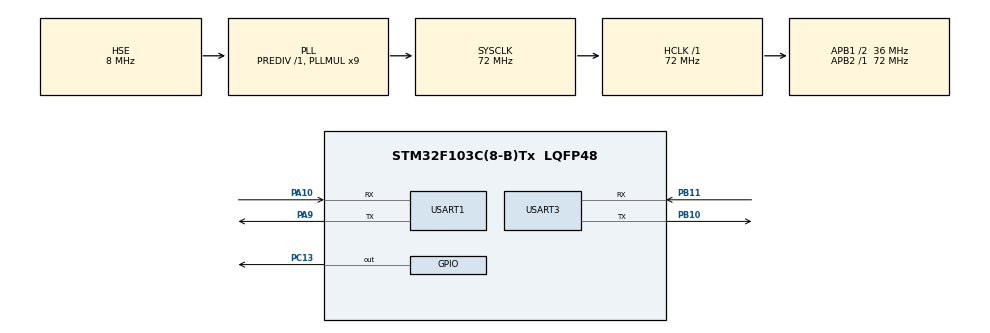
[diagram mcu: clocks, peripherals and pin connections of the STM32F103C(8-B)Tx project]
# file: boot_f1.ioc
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Dma.Request0=USART1_RX
Dma.USART1_RX.0.Direction=DMA_PERIPH_TO_MEMORY
Dma.USART1_RX.0.Instance=DMA1_Channel5
Dma.USART1_RX.0.MemDataAlignment=DMA_MDATAALIGN_BYTE
Dma.USART1_RX.0.MemInc=DMA_MINC_ENABLE
Dma.USART1_RX.0.Mode=DMA_NORMAL
Dma.USART1_RX.0.PeriphDataAlignment=DMA_PDATAALIGN_BYTE
Dma.USART1_RX.0.PeriphInc=DMA_PINC_DISABLE
Dma.USART1_RX.0.Priority=DMA_PRIORITY_MEDIUM
Mcu.Family=STM32F1
Mcu.Name=STM32F103C(8-B)Tx
Mcu.Package=LQFP48
NVIC.DMA1_Channel5_IRQn=true\:0\:0\:false\:false\:true\:false\:true\:true
NVIC.PriorityGroup=NVIC_PRIORITYGROUP_4
NVIC.USART1_IRQn=true\:0\:0\:false\:false\:true\:true\:true\:true
PA10.Mode=Asynchronous
PA10.Signal=USART1_RX
PA13.Mode=Serial_Wire
PA13.Signal=SYS_JTMS-SWDIO
PA14.Mode=Serial_Wire
PA14.Signal=SYS_JTCK-SWCLK
PA9.Mode=Asynchronous
PA9.Signal=USART1_TX
PB10.Mode=Asynchronous
PB10.Signal=USART3_TX
PB11.Mode=Asynchronous
PB11.Signal=USART3_RX
PC13-TAMPER-RTC.Signal=GPIO_Output
PD0-OSC_IN.Mode=HSE-External-Oscillator
PD0-OSC_IN.Signal=RCC_OSC_IN
PD1-OSC_OUT.Mode=HSE-External-Oscillator
PD1-OSC_OUT.Signal=RCC_OSC_OUT
ProjectManager.HeapSize=0x200
ProjectManager.StackSize=0x400
ProjectManager.TargetToolchain=STM32CubeIDE
RCC.AHBFreq_Value=72000000
RCC.APB1CLKDivider=RCC_HCLK_DIV2
RCC.APB1Freq_Value=36000000
RCC.APB1TimFreq_Value=72000000
RCC.APB2Freq_Value=72000000
RCC.APB2TimFreq_Value=72000000
RCC.HCLKFreq_Value=72000000
RCC.PLLMUL=RCC_PLL_MUL9
RCC.PLLSourceVirtual=RCC_PLLSOURCE_HSE
RCC.SYSCLKFreq_VALUE=72000000
RCC.SYSCLKSource=RCC_SYSCLKSOURCE_PLLCLK
RCC.USBFreq_Value=72000000
USART1.VirtualMode=VM_ASYNC
USART3.VirtualMode=VM_ASYNC
board=custom

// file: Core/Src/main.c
/* USER CODE BEGIN Header */
/**
 ******************************************************************************
 * @file           : main.c
 * @brief          : Main program body
 ******************************************************************************
 * @attention
 *
 * Copyright (c) 2024 STMicroelectronics.
 * All rights reserved.
 *
 * This software is licensed under terms that can be found in the LICENSE file
 * in the root directory of this software component.
 * If no LICENSE file comes with this software, it is provided AS-IS.
 *
 ******************************************************************************
 */
/* USER CODE END Header */
#include "main.h"

/* USER CODE BEGIN Includes */
#include "boot_f1.h"
/* USER CODE END Includes */

/* USER CODE BEGIN PD */
// #define BASE_ADDRESS_FLASH 		0x08010000
/* USER CODE END PD */

UART_HandleTypeDef huart1;
UART_HandleTypeDef huart3;
DMA_HandleTypeDef hdma_usart1_rx;

/* USER CODE BEGIN PV */
// char a[] = "hello";
/* USER CODE END PV */

void SystemClock_Config(void);
static void MX_GPIO_Init(void);
static void MX_DMA_Init(void);
static void MX_USART1_UART_Init(void);
static void MX_USART3_UART_Init(void);

/* USER CODE BEGIN 0 */
// uint8_t b[100];
uint8_t i;
uint8_t a[1025];
uint32_t address = BASE_ADDRESS_FLASH;
uint8_t count_to_stop = 0;
uint8_t count_to_start = 0;
volatile uint8_t temp = 0;
uint8_t khoa;
void HAL_UART_RxCpltCallback(UART_HandleTypeDef *huart)
{
  if (huart->Instance == huart1.Instance)
  {
    count_to_start++;
  }
  HAL_UART_Receive_DMA(&huart1, a, 1024);
}
// void HAL_GPIO_EXTI_Callback(uint16_t GPIO_Pin)
//{
//     if (GPIO_Pin == GPIO_PIN_7)
//     {
//         if (((GPIOC->IDR) & (0b10000000)) == 0)
//         {
//         	temp ++;
//         }
//     }
// }
/* USER CODE END 0 */

int main(void)
{

  /* MCU Configuration--------------------------------------------------------*/

  /* Reset of all peripherals, Initializes the Flash interface and the Systick. */
  HAL_Init();

  /* Configure the system clock */
  SystemClock_Config();

  /* Initialize all configured peripherals */
  MX_GPIO_Init();
  MX_DMA_Init();
  MX_USART1_UART_Init();
  MX_USART3_UART_Init();
  /* USER CODE BEGIN 2 */
  //  flash_erase((uint32_t)0x0800F000);
  //  flash_write((uint32_t)0x0800F000, a, 8);
  //  flash_read((uint32_t)0x0800F000, b, 10);
  HAL_UART_Receive_DMA(&huart1, a, 1024);
  khoa = 0;
  HAL_GPIO_WritePin(GPIOC, GPIO_PIN_13, 0);
  /* USER CODE END 2 */

  /* Infinite loop */
  /* USER CODE BEGIN WHILE */
  while (1)
  {
    if (count_to_start == 1)
    {
      HAL_UART_Transmit(&huart3, a, 1024, 150);
      flash_erase(BASE_ADDRESS_FLASH + 1024 * count_to_stop);
      flash_write(BASE_ADDRESS_FLASH + 1024 * count_to_stop, a, 1024);
      count_to_start = 0;
      count_to_stop++;
      temp = 0;
    }
    /* The code block you provided is checking if the variable `count_to_stop` is equal to 16. If it is,
    the following actions are taken:
    1. A delay of 3000 milliseconds (3 seconds) is introduced using `HAL_Delay(3000)`.
    2. Interrupts are disabled using `__disable_irq()`.
    3. The Vector Table Offset Register (VTOR) of the System Control Block (SCB) is set to 0x8010000.
    4. Data Synchronization Barrier (DSB) instruction is executed using `__DSB()`.
    5. Interrupts are enabled again using `__enable_irq()`.
    6. The function `boot2()` is called. */
    if (count_to_stop == 16)
    {
      HAL_Delay(3000);
      //		  boot_to_app();
      __disable_irq();
      SCB->VTOR = 0x8010000;
      __DSB();
      __enable_irq();
      boot2();
    }
    /* USER CODE END WHILE */

  }
}

void SystemClock_Config(void)
{
  RCC_OscInitTypeDef RCC_OscInitStruct = {0};
  RCC_ClkInitTypeDef RCC_ClkInitStruct = {0};

  /** Initializes the RCC Oscillators according to the specified parameters
   * in the RCC_OscInitTypeDef structure.
   */
  RCC_OscInitStruct.OscillatorType = RCC_OSCILLATORTYPE_HSE;
  RCC_OscInitStruct.HSEState = RCC_HSE_ON;
  RCC_OscInitStruct.HSEPredivValue = RCC_HSE_PREDIV_DIV1;
  RCC_OscInitStruct.HSIState = RCC_HSI_ON;
  RCC_OscInitStruct.PLL.PLLState = RCC_PLL_ON;
  RCC_OscInitStruct.PLL.PLLSource = RCC_PLLSOURCE_HSE;
  RCC_OscInitStruct.PLL.PLLMUL = RCC_PLL_MUL9;
  if (HAL_RCC_OscConfig(&RCC_OscInitStruct) != HAL_OK)
  {
    Error_Handler();
  }

  /** Initializes the CPU, AHB and APB buses clocks
   */
  RCC_ClkInitStruct.ClockType = RCC_CLOCKTYPE_HCLK | RCC_CLOCKTYPE_SYSCLK | RCC_CLOCKTYPE_PCLK1 | RCC_CLOCKTYPE_PCLK2;
  RCC_ClkInitStruct.SYSCLKSource = RCC_SYSCLKSOURCE_PLLCLK;
  RCC_ClkInitStruct.AHBCLKDivider = RCC_SYSCLK_DIV1;
  RCC_ClkInitStruct.APB1CLKDivider = RCC_HCLK_DIV2;
  RCC_ClkInitStruct.APB2CLKDivider = RCC_HCLK_DIV1;

  if (HAL_RCC_ClockConfig(&RCC_ClkInitStruct, FLASH_LATENCY_2) != HAL_OK)
  {
    Error_Handler();
  }
}

static void MX_USART1_UART_Init(void)
{

  huart1.Instance = USART1;
  huart1.Init.BaudRate = 115200;
  huart1.Init.WordLength = UART_WORDLENGTH_8B;
  huart1.Init.StopBits = UART_STOPBITS_1;
  huart1.Init.Parity = UART_PARITY_NONE;
  huart1.Init.Mode = UART_MODE_TX_RX;
  huart1.Init.HwFlowCtl = UART_HWCONTROL_NONE;
  huart1.Init.OverSampling = UART_OVERSAMPLING_16;
  if (HAL_UART_Init(&huart1) != HAL_OK)
  {
    Error_Handler();
  }
}

static void MX_USART3_UART_Init(void)
{

  huart3.Instance = USART3;
  huart3.Init.BaudRate = 115200;
  huart3.Init.WordLength = UART_WORDLENGTH_8B;
  huart3.Init.StopBits = UART_STOPBITS_1;
  huart3.Init.Parity = UART_PARITY_NONE;
  huart3.Init.Mode = UART_MODE_TX_RX;
  huart3.Init.HwFlowCtl = UART_HWCONTROL_NONE;
  huart3.Init.OverSampling = UART_OVERSAMPLING_16;
  if (HAL_UART_Init(&huart3) != HAL_OK)
  {
    Error_Handler();
  }
}

static void MX_DMA_Init(void)
{

  /* DMA controller clock enable */
  __HAL_RCC_DMA1_CLK_ENABLE();

  /* DMA interrupt init */
  /* DMA1_Channel5_IRQn interrupt configuration */
  HAL_NVIC_SetPriority(DMA1_Channel5_IRQn, 0, 0);
  HAL_NVIC_EnableIRQ(DMA1_Channel5_IRQn);
}

static void MX_GPIO_Init(void)
{
  GPIO_InitTypeDef GPIO_InitStruct = {0};

  /* GPIO Ports Clock Enable */
  __HAL_RCC_GPIOC_CLK_ENABLE();
  __HAL_RCC_GPIOD_CLK_ENABLE();
  __HAL_RCC_GPIOB_CLK_ENABLE();
  __HAL_RCC_GPIOA_CLK_ENABLE();

  /*Configure GPIO pin Output Level */
  HAL_GPIO_WritePin(GPIOC, GPIO_PIN_13, GPIO_PIN_RESET);

  /*Configure GPIO pin : PC13 */
  GPIO_InitStruct.Pin = GPIO_PIN_13;
  GPIO_InitStruct.Mode = GPIO_MODE_OUTPUT_PP;
  GPIO_InitStruct.Pull = GPIO_NOPULL;
  GPIO_InitStruct.Speed = GPIO_SPEED_FREQ_LOW;
  HAL_GPIO_Init(GPIOC, &GPIO_InitStruct);

}

void Error_Handler(void)
{
  __disable_irq();
  while (1)
  {
  }
}
